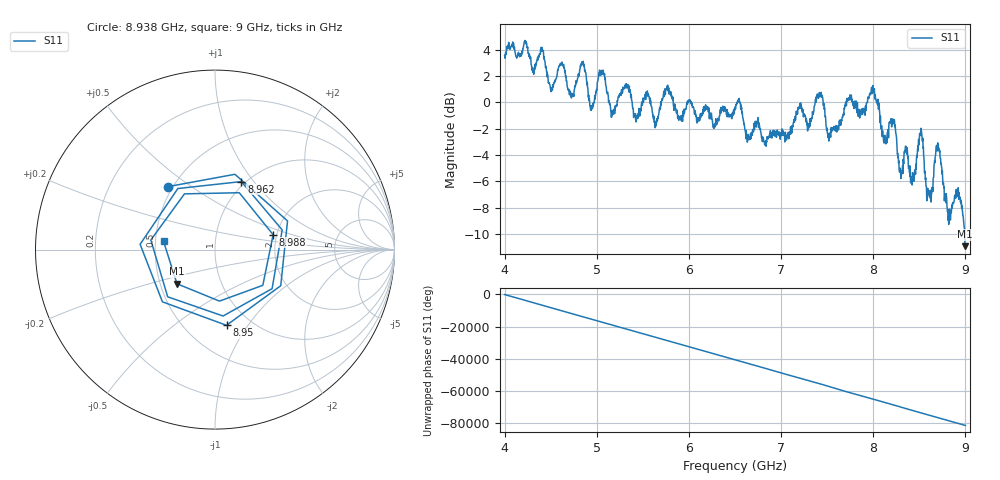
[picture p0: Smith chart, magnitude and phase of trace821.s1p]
! Created with skrf 1.8.0 (http://scikit-rf.org).
# Hz S RI R 50.0
!freq ReS11 ImS11
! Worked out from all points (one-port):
!   1601 points, 4 GHz to 9 GHz, reference 50 ohm
!   lowest |S11| = -10.9 dB at 8.997 GHz (marker M1), VSWR 1.80, Z = 30.5 - j12.6 ohm
!   |S11| at or under -10 dB: 8.99205 GHz to end of sweep
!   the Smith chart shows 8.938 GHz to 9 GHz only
!   S11 on the Smith chart (normalised r, x): 8.938 GHz: 0.47, +0.41; 8.95 GHz: 0.78, -0.80; 8.962 GHz: 0.96, +0.87; 8.988 GHz: 1.91, +0.36; 9 GHz: 0.55, +0.06
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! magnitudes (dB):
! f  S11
! 4 GHz  3.6
! 4.625 GHz  3.0
! 4.853 GHz  3.1
! 4.947 GHz  -0.3
! 5.047 GHz  2.3
! 5.25 GHz  0.5
! 5.875 GHz  -0.9
! 6.5 GHz  -0.5
! 7.125 GHz  -1.8
! 7.419 GHz  0.5
! 7.525 GHz  -2.4
! 7.75 GHz  0.6
! 8 GHz  1.1
! 8.122 GHz  -2.6
! 8.216 GHz  -1.6
! 8.297 GHz  -5.4
! 8.375 GHz  -4.2
! 8.431 GHz  -5.5
! 8.519 GHz  -2.0
! 8.606 GHz  -7.0
! 8.703 GHz  -3.6
! 8.822 GHz  -8.9
! 8.938 GHz  -7.2
! 8.95 GHz  -7.4
! 8.962 GHz  -7.8
! 8.988 GHz  -9.5
! 8.997 GHz  -10.9
! 9 GHz  -10.7
